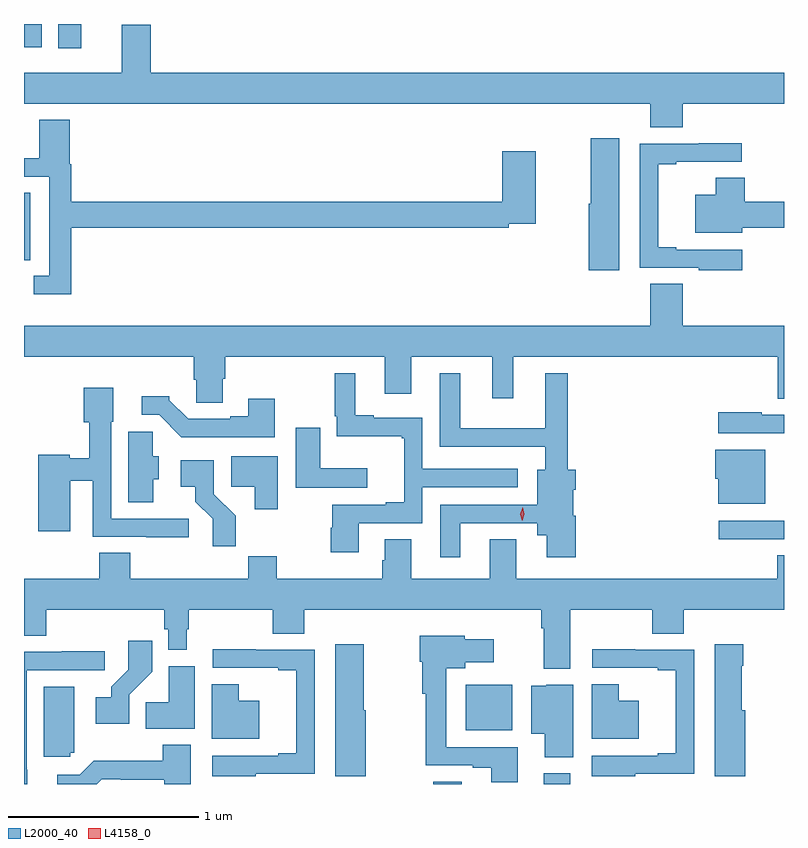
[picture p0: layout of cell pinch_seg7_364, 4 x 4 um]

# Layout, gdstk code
import gdstk
lib = gdstk.Library(unit=1e-6, precision=1e-09)
def R(c, l, rs):  # rectangles x0, y0, x1, y1
    for r in rs: c.add(gdstk.rectangle(r[:2], r[2:], *l))
def P(c, l, *ps):  # polygons
    for p in ps: c.add(gdstk.Polygon(p, *l))
L2000_40 = (2000, 40)
L4158_0 = (4158, 0)

pinch_seg7_364 = lib.new_cell('pinch_seg7_364')
R(pinch_seg7_364, L2000_40, [(460.229,1029.004,460.381,1029.017), (460.811,1029.004,460.951,1029.06), (460.4,1029.287,460.645,1029.526), (458.076,1031.76,458.11,1032.116), (458.255,1032.876,458.377,1033.004), (458.076,1032.881,458.17,1033.004)])
P(pinch_seg7_364, L2000_40, [(461.543,1032.584),(462.076,1032.584),(462.076,1032.748),(458.744,1032.748),(458.744,1033),(458.591,1033),(458.591,1032.748),(458.076,1032.748),(458.076,1032.584),(461.372,1032.584),(461.372,1032.46),(461.543,1032.46)],
  [(458.324,1031.932),(460.628,1031.932),(460.628,1031.952),(460.77,1031.952),(460.77,1032.334),(460.592,1032.334),(460.592,1032.068),(458.324,1032.068),(458.324,1032.266),(458.318,1032.266),(458.318,1032.499),(458.156,1032.499),(458.156,1032.297),(458.076,1032.297),(458.076,1032.201),(458.208,1032.201),(458.208,1031.679),(458.127,1031.679),(458.127,1031.582),(458.324,1031.582)],
  [(461.209,1032.403),(461.059,1032.403),(461.059,1032.057),(461.048,1032.057),(461.048,1031.709),(461.209,1031.709)],
  [(461.857,1031.817),(461.509,1031.817),(461.509,1031.83),(461.414,1031.83),(461.414,1032.267),(461.509,1032.267),(461.509,1032.279),(461.854,1032.279),(461.854,1032.377),(461.626,1032.377),(461.626,1032.375),(461.316,1032.375),(461.316,1031.721),(461.626,1031.721),(461.626,1031.709),(461.857,1031.709)],
  [(461.857,1031.932),(462.076,1031.932),(462.076,1032.068),(461.87,1032.068),(461.87,1032.194),(461.716,1032.194),(461.716,1032.106),(461.609,1032.106),(461.609,1031.906),(461.857,1031.906)],
  [(459.121,1031.138),(459.134,1031.138),(459.134,1031.252),(459.974,1031.252),(459.974,1031.058),(460.114,1031.058),(460.114,1031.252),(460.541,1031.252),(460.541,1031.034),(460.651,1031.034),(460.651,1031.252),(462.044,1031.252),(462.044,1031.032),(462.076,1031.032),(462.076,1031.416),(461.543,1031.416),(461.543,1031.636),(461.372,1031.636),(461.372,1031.416),(458.076,1031.416),(458.076,1031.252),(458.969,1031.252),(458.969,1031.132),(458.982,1031.132),(458.982,1031.011),(459.121,1031.011)],
  [(460.372,1030.377),(460.778,1030.377),(460.778,1030.313),(460.826,1030.313),(460.826,1030.197),(460.979,1030.197),(460.979,1030.417),(460.966,1030.417),(460.966,1030.553),(460.979,1030.553),(460.979,1030.657),(460.939,1030.657),(460.939,1031.167),(460.82,1031.167),(460.82,1030.876),(460.372,1030.876),(460.372,1031.167),(460.265,1031.167),(460.265,1030.779),(460.82,1030.779),(460.82,1030.657),(460.778,1030.657),(460.778,1030.473),(460.268,1030.473),(460.268,1030.197),(460.372,1030.197)],
  [(459.838,1030.377),(460.173,1030.377),(460.173,1030.566),(460.675,1030.566),(460.675,1030.662),(460.173,1030.662),(460.173,1030.932),(459.916,1030.932),(459.916,1030.945),(459.82,1030.945),(459.82,1031.167),(459.711,1031.167),(459.711,1030.939),(459.723,1030.939),(459.723,1030.835),(460.065,1030.835),(460.065,1030.824),(460.076,1030.824),(460.076,1030.486),(459.98,1030.486),(459.98,1030.473),(459.698,1030.473),(459.698,1030.353),(459.691,1030.353),(459.691,1030.224),(459.838,1030.224)],
  [(458.944,1030.401),(458.535,1030.401),(458.535,1030.911),(458.545,1030.911),(458.545,1031.089),(458.39,1031.089),(458.39,1030.907),(458.419,1030.907),(458.419,1030.718),(458.316,1030.718),(458.316,1030.736),(458.15,1030.736),(458.15,1030.335),(458.32,1030.335),(458.32,1030.6),(458.439,1030.6),(458.439,1030.305),(458.719,1030.305),(458.719,1030.303),(458.944,1030.303)],
  [(459.397,1031.032),(459.257,1031.032),(459.257,1030.939),(459.161,1030.939),(459.161,1030.926),(458.94,1030.926),(458.841,1031.025),(458.841,1031.045),(458.697,1031.045),(458.697,1030.947),(458.787,1030.947),(458.904,1030.83),(459.397,1030.83)],
  [(462.076,1030.947),(461.96,1030.947),(461.96,1030.96),(461.73,1030.96),(461.73,1030.851),(462.076,1030.851)],
  [(459.883,1030.666),(459.634,1030.666),(459.634,1030.879),(459.506,1030.879),(459.506,1030.562),(459.883,1030.562)],
  [(458.755,1030.607),(458.785,1030.607),(458.785,1030.729),(458.753,1030.729),(458.753,1030.857),(458.624,1030.857),(458.624,1030.486),(458.755,1030.486)],
  [(461.977,1030.762),(461.714,1030.762),(461.714,1030.611),(461.729,1030.611),(461.729,1030.478),(461.977,1030.478)],
  [(459.412,1030.729),(459.168,1030.729),(459.168,1030.569),(459.29,1030.569),(459.29,1030.449),(459.412,1030.449)],
  [(459.19,1030.415),(459.075,1030.53),(459.075,1030.708),(458.901,1030.708),(458.901,1030.568),(458.977,1030.568),(458.977,1030.49),(459.069,1030.399),(459.069,1030.256),(459.19,1030.256)],
  [(461.957,1030.293),(462.076,1030.293),(462.076,1030.389),(461.733,1030.389),(461.733,1030.292),(461.957,1030.292)],
  [(460.951,1029.92),(461.383,1029.92),(461.383,1029.796),(461.549,1029.796),(461.549,1029.92),(462.076,1029.92),(462.076,1030.208),(462.041,1030.208),(462.041,1030.084),(460.666,1030.084),(460.666,1030.292),(460.526,1030.292),(460.526,1030.084),(460.114,1030.084),(460.114,1030.292),(459.974,1030.292),(459.974,1030.182),(459.962,1030.182),(459.962,1030.084),(459.405,1030.084),(459.405,1030.204),(459.257,1030.204),(459.257,1030.084),(458.636,1030.084),(458.636,1030.22),(458.471,1030.22),(458.471,1030.084),(458.076,1030.084),(458.076,1029.784),(458.192,1029.784),(458.192,1029.92),(458.815,1029.92),(458.815,1029.819),(458.835,1029.819),(458.835,1029.71),(458.932,1029.71),(458.932,1029.819),(458.944,1029.819),(458.944,1029.92),(459.385,1029.92),(459.385,1029.796),(459.551,1029.796),(459.551,1029.92),(460.799,1029.92),(460.799,1029.824),(460.811,1029.824),(460.811,1029.611),(460.951,1029.611)],
  [(460.675,1029.198),(460.299,1029.198),(460.299,1029.614),(460.399,1029.614),(460.399,1029.644),(460.549,1029.644),(460.549,1029.766),(460.395,1029.766),(460.395,1029.784),(460.16,1029.784),(460.16,1029.648),(460.171,1029.648),(460.171,1029.48),(460.191,1029.48),(460.191,1029.102),(460.439,1029.102),(460.439,1029.09),(460.535,1029.09),(460.535,1029.012),(460.675,1029.012)],
  [(458.631,1029.475),(458.75,1029.594),(458.75,1029.757),(458.625,1029.757),(458.625,1029.605),(458.534,1029.515),(458.534,1029.46),(458.454,1029.46),(458.454,1029.32),(458.631,1029.32)],
  [(461.872,1029.393),(461.854,1029.393),(461.854,1029.626),(461.862,1029.626),(461.862,1029.739),(461.711,1029.739),(461.711,1029.045),(461.872,1029.045)],
  [(459.874,1029.393),(459.864,1029.393),(459.864,1029.739),(459.713,1029.739),(459.713,1029.045),(459.874,1029.045)],
  [(459.296,1029.057),(459.606,1029.057),(459.606,1029.711),(459.296,1029.711),(459.296,1029.713),(459.069,1029.713),(459.069,1029.615),(459.413,1029.615),(459.413,1029.603),(459.509,1029.603),(459.509,1029.166),(459.413,1029.166),(459.413,1029.153),(459.066,1029.153),(459.066,1029.045),(459.296,1029.045)],
  [(461.294,1029.057),(461.604,1029.057),(461.604,1029.711),(461.294,1029.711),(461.294,1029.713),(461.067,1029.713),(461.067,1029.615),(461.411,1029.615),(461.411,1029.603),(461.507,1029.603),(461.507,1029.166),(461.411,1029.166),(461.411,1029.153),(461.064,1029.153),(461.064,1029.045),(461.294,1029.045)],
  [(458.092,1029.078),(458.091,1029.078),(458.091,1029.603),(458.5,1029.603),(458.5,1029.702),(458.275,1029.702),(458.275,1029.699),(458.076,1029.699),(458.076,1029.004),(458.092,1029.004)],
  [(458.974,1029.625),(458.837,1029.625),(458.837,1029.434),(458.716,1029.434),(458.716,1029.296),(458.974,1029.296)],
  [(459.313,1029.442),(459.207,1029.442),(459.207,1029.53),(459.065,1029.53),(459.065,1029.242),(459.313,1029.242)],
  [(461.311,1029.442),(461.205,1029.442),(461.205,1029.53),(461.063,1029.53),(461.063,1029.242),(461.311,1029.242)],
  [(460.966,1029.526),(460.824,1029.526),(460.824,1029.52),(460.745,1029.52),(460.745,1029.269),(460.817,1029.269),(460.817,1029.145),(460.966,1029.145)],
  [(458.319,1029.168),(458.341,1029.168),(458.341,1029.517),(458.18,1029.517),(458.18,1029.147),(458.319,1029.147)],
  [(458.484,1029.03),(458.584,1029.03),(458.584,1029.027),(458.813,1029.027),(458.813,1029.004),(458.953,1029.004),(458.953,1029.211),(458.806,1029.211),(458.806,1029.127),(458.443,1029.127),(458.37,1029.054),(458.25,1029.054),(458.25,1029.004),(458.458,1029.004)])
P(pinch_seg7_364, L4158_0, [(460.699,1030.389),(460.699,1030.389),(460.689,1030.425),(460.7,1030.461),(460.7,1030.461),(460.7,1030.461),(460.709,1030.425),(460.699,1030.389)])

lib.write_gds('pinch_seg7_364.gds')
